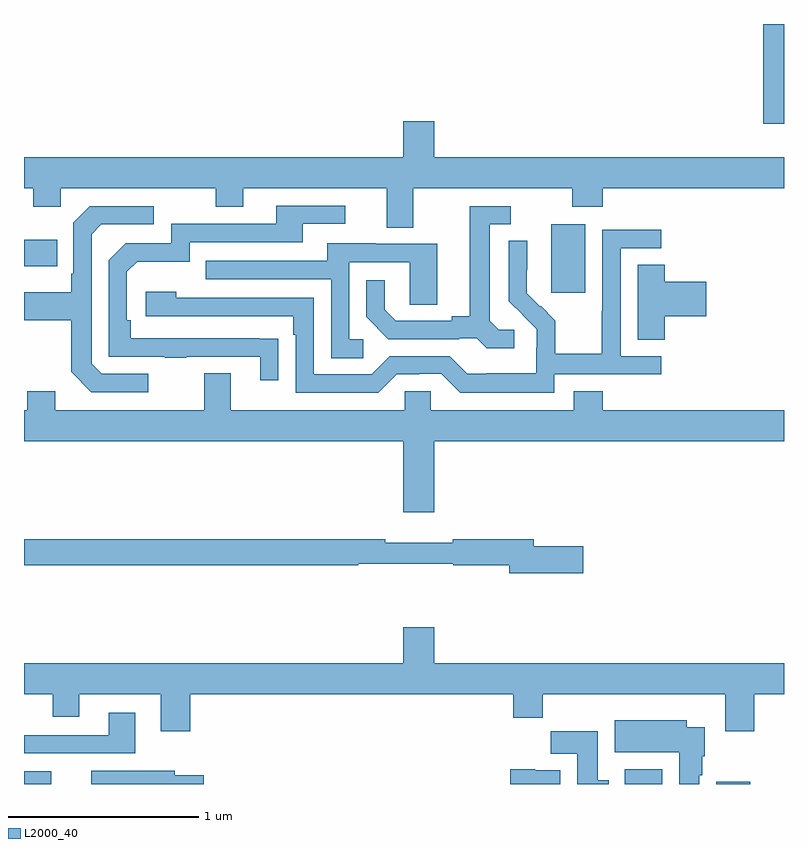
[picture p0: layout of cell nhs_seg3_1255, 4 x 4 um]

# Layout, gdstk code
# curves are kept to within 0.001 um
import gdstk
lib = gdstk.Library(unit=1e-6, precision=1e-09)
def R(c, l, rs):  # rectangles x0, y0, x1, y1
    for r in rs: c.add(gdstk.rectangle(r[:2], r[2:], *l))
def P(c, l, *ps):  # polygons
    for p in ps: c.add(gdstk.Polygon(p, *l))
L2000_40 = (2000, 40)

nhs_seg3_1255 = lib.new_cell('nhs_seg3_1255')
R(nhs_seg3_1255, L2000_40, [(175,744.4,175.144,744.466), (178.163,744.4,178.36,744.478), (178.643,744.4,178.822,744.412), (177.776,746.985,177.955,747.346), (175,747.125,175.175,747.265), (178.892,747.876,179,748.4)])
P(nhs_seg3_1255, L2000_40, [(177.049,747.536),(177.886,747.536),(177.886,747.437),(178.046,747.437),(178.046,747.536),(179,747.536),(179,747.7),(177.16,747.7),(177.16,747.889),(176.996,747.889),(176.996,747.7),(175,747.7),(175,747.536),(175.048,747.536),(175.048,747.437),(175.194,747.437),(175.194,747.536),(176.008,747.536),(176.008,747.437),(176.155,747.437),(176.155,747.536),(176.909,747.536),(176.909,747.328),(177.049,747.328)],
  [(176.339,746.744),(175.562,746.745),(175.562,746.842),(175.542,746.842),(175.542,747.096),(175.595,747.149),(175.872,747.149),(175.872,747.252),(176.467,747.252),(176.467,747.348),(176.692,747.348),(176.692,747.444),(176.327,747.444),(176.327,747.348),(175.776,747.348),(175.776,747.246),(175.536,747.246),(175.446,747.156),(175.446,746.649),(175.741,746.649),(175.741,746.644),(175.853,746.644),(175.853,746.649),(176.243,746.649),(176.243,746.526),(176.339,746.526)],
  [(175.654,746.559),(175.41,746.559),(175.356,746.613),(175.356,747.294),(175.407,747.345),(175.684,747.345),(175.684,747.441),(175.347,747.441),(175.26,747.354),(175.26,747.085),(175.248,747.085),(175.248,746.989),(175,746.989),(175,746.842),(175.248,746.842),(175.248,746.569),(175.353,746.463),(175.654,746.463)],
  [(177.58,746.79),(177.498,746.79),(177.451,746.837),(177.451,747.345),(177.562,747.345),(177.562,747.441),(177.347,747.441),(177.347,746.861),(177.251,746.861),(177.251,746.838),(176.956,746.838),(176.899,746.895),(176.899,747.052),(176.802,747.052),(176.802,746.858),(176.918,746.742),(177.29,746.742),(177.29,746.745),(177.384,746.745),(177.436,746.693),(177.58,746.693)],
  [(177.792,746.556),(178.354,746.556),(178.354,746.652),(178.14,746.652),(178.14,747.219),(178.354,747.219),(178.354,747.318),(178.044,747.318),(178.044,746.888),(178.042,746.888),(178.042,746.665),(177.797,746.665),(177.797,746.839),(177.72,746.916),(177.717,746.913),(177.647,746.984),(177.648,747.26),(177.552,747.26),(177.552,746.942),(177.698,746.794),(177.698,746.697),(177.696,746.697),(177.696,746.563),(177.433,746.563),(177.433,746.559),(177.333,746.559),(177.24,746.652),(176.925,746.652),(176.829,746.556),(176.526,746.556),(176.526,746.958),(175.802,746.958),(175.802,746.992),(175.641,746.992),(175.641,746.862),(176.417,746.862),(176.417,746.765),(176.43,746.765),(176.43,746.46),(176.865,746.46),(176.961,746.556),(177.08,746.556),(177.08,746.559),(177.195,746.559),(177.295,746.459),(177.792,746.459)],
  [(176.785,746.742),(176.712,746.742),(176.712,747.147),(177.03,747.147),(177.03,746.923),(177.175,746.923),(177.175,747.243),(176.851,747.243),(176.851,747.247),(176.597,747.247),(176.597,747.153),(175.957,747.153),(175.957,747.057),(176.616,747.057),(176.616,746.641),(176.785,746.641)],
  [(178.373,746.861),(178.591,746.861),(178.591,747.044),(178.373,747.044),(178.373,747.134),(178.229,747.134),(178.229,746.737),(178.373,746.737)],
  [(177.16,746.204),(179,746.204),(179,746.368),(178.046,746.368),(178.046,746.467),(177.893,746.467),(177.893,746.368),(177.141,746.368),(177.141,746.466),(177.003,746.466),(177.003,746.368),(176.089,746.368),(176.089,746.563),(175.949,746.563),(175.949,746.368),(175.165,746.368),(175.165,746.467),(175.018,746.467),(175.018,746.368),(175,746.368),(175,746.204),(176.996,746.204),(176.996,745.83),(177.16,745.83)],
  [(177.943,745.652),(177.682,745.652),(177.682,745.688),(177.256,745.688),(177.256,745.669),(176.9,745.669),(176.9,745.688),(175,745.688),(175,745.552),(176.758,745.552),(176.758,745.56),(177.258,745.56),(177.258,745.552),(177.554,745.552),(177.554,745.51),(177.943,745.51)],
  [(175.874,744.872),(177.575,744.872),(177.575,744.748),(177.731,744.748),(177.731,744.872),(178.691,744.872),(178.691,744.678),(178.844,744.678),(178.844,744.872),(179,744.872),(179,745.036),(177.16,745.036),(177.16,745.225),(176.996,745.225),(176.996,745.036),(175,745.036),(175,744.872),(175.151,744.872),(175.151,744.755),(175.291,744.755),(175.291,744.872),(175.721,744.872),(175.721,744.678),(175.874,744.678)],
  [(175.585,744.775),(175.445,744.775),(175.445,744.657),(175,744.657),(175,744.561),(175.585,744.561)],
  [(178.555,744.446),(178.57,744.446),(178.57,744.546),(178.582,744.546),(178.582,744.7),(178.489,744.7),(178.489,744.736),(178.109,744.736),(178.109,744.566),(178.448,744.566),(178.448,744.4),(178.555,744.4)],
  [(178.078,744.42),(178.021,744.42),(178.021,744.678),(177.772,744.678),(177.772,744.56),(177.911,744.56),(177.911,744.4),(178.078,744.4)],
  [(177.823,744.472),(177.69,744.472),(177.69,744.478),(177.56,744.478),(177.56,744.4),(177.823,744.4)],
  [(175.945,744.445),(175.794,744.445),(175.794,744.469),(175.355,744.469),(175.355,744.4),(175.945,744.4)])

lib.write_gds('nhs_seg3_1255.gds')
